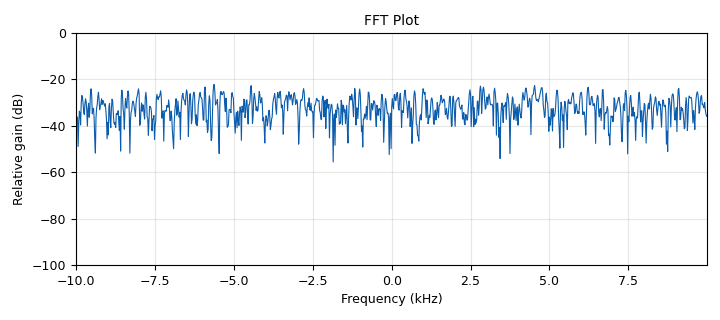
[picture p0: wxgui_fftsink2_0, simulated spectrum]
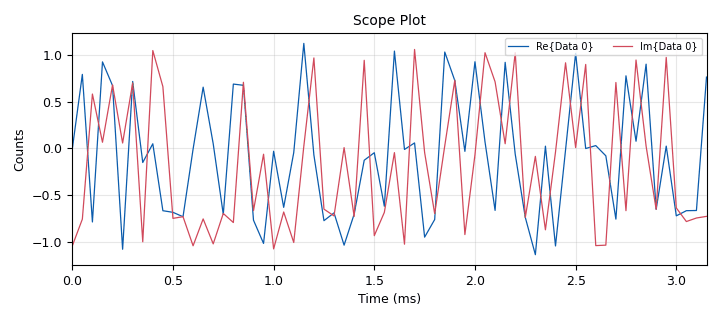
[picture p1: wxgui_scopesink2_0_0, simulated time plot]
<?xml version='1.0' encoding='utf-8'?>
<?grc format='1' created='3.7.9'?>
<flow_graph>
<block>
<key>options</key>
<param><key>id</key><value>top_block</value></param>
<param><key>category</key><value>Custom</value></param>
<param><key>generate_options</key><value>wx_gui</value></param>
</block>
<block>
<key>variable_slider</key>
<param><key>id</key><value>b1</value></param>
<param><key>converver</key><value>float_converter</value></param>
<param><key>value</key><value>-.5</value></param>
<param><key>label</key><value></value></param>
<param><key>max</key><value>1</value></param>
<param><key>min</key><value>-1</value></param>
<param><key>num_steps</key><value>100</value></param>
<param><key>style</key><value>wx.SL_HORIZONTAL</value></param>
</block>
<block>
<key>variable_slider</key>
<param><key>id</key><value>b2</value></param>
<param><key>converver</key><value>float_converter</value></param>
<param><key>value</key><value>0.25</value></param>
<param><key>label</key><value></value></param>
<param><key>max</key><value>1</value></param>
<param><key>min</key><value>-1</value></param>
<param><key>num_steps</key><value>100</value></param>
<param><key>style</key><value>wx.SL_HORIZONTAL</value></param>
</block>
<block>
<key>variable_slider</key>
<param><key>id</key><value>b3</value></param>
<param><key>converver</key><value>float_converter</value></param>
<param><key>value</key><value>-.125</value></param>
<param><key>label</key><value></value></param>
<param><key>max</key><value>1</value></param>
<param><key>min</key><value>-1</value></param>
<param><key>num_steps</key><value>100</value></param>
<param><key>style</key><value>wx.SL_HORIZONTAL</value></param>
</block>
<block>
<key>variable_slider</key>
<param><key>id</key><value>b4</value></param>
<param><key>converver</key><value>float_converter</value></param>
<param><key>value</key><value>.062</value></param>
<param><key>label</key><value></value></param>
<param><key>max</key><value>1</value></param>
<param><key>min</key><value>-1</value></param>
<param><key>num_steps</key><value>100</value></param>
<param><key>style</key><value>wx.SL_HORIZONTAL</value></param>
</block>
<block>
<key>variable</key>
<param><key>id</key><value>const_points</value></param>
<param><key>value</key><value>8</value></param>
</block>
<block>
<key>variable</key>
<param><key>id</key><value>excess_bw</value></param>
<param><key>value</key><value>0.4</value></param>
</block>
<block>
<key>variable</key>
<param><key>id</key><value>freq_bw</value></param>
<param><key>value</key><value>2*pi/100</value></param>
</block>
<block>
<key>variable_slider</key>
<param><key>id</key><value>gain</value></param>
<param><key>converver</key><value>float_converter</value></param>
<param><key>value</key><value>1</value></param>
<param><key>label</key><value></value></param>
<param><key>max</key><value>100</value></param>
<param><key>min</key><value>0</value></param>
<param><key>num_steps</key><value>100</value></param>
<param><key>style</key><value>wx.SL_HORIZONTAL</value></param>
</block>
<block>
<key>variable</key>
<param><key>id</key><value>nfilts</value></param>
<param><key>value</key><value>32</value></param>
</block>
<block>
<key>variable</key>
<param><key>id</key><value>ntaps</value></param>
<param><key>value</key><value>11*nfilts*sps</value></param>
</block>
<block>
<key>variable</key>
<param><key>id</key><value>output_sps</value></param>
<param><key>value</key><value>1</value></param>
</block>
<block>
<key>variable</key>
<param><key>id</key><value>rx_taps</value></param>
<param><key>value</key><value>firdes.root_raised_cosine(nfilts, nfilts*sps, 1.0,excess_bw, ntaps)</value></param>
</block>
<block>
<key>variable</key>
<param><key>id</key><value>samp_rate</value></param>
<param><key>value</key><value>32000</value></param>
</block>
<block>
<key>variable</key>
<param><key>id</key><value>sps</value></param>
<param><key>value</key><value>3</value></param>
</block>
<block>
<key>variable</key>
<param><key>id</key><value>symb_samp_rate</value></param>
<param><key>value</key><value>20000</value></param>
</block>
<block>
<key>variable</key>
<param><key>id</key><value>timing_bw</value></param>
<param><key>value</key><value>2*pi/100</value></param>
</block>
<block>
<key>variable</key>
<param><key>id</key><value>tx_taps</value></param>
<param><key>value</key><value>firdes.root_raised_cosine(nfilts,nfilts,1.0,excess_bw,ntaps)</value></param>
</block>
<block>
<key>analog_noise_source_x</key>
<param><key>id</key><value>analog_noise_source_x_0</value></param>
<param><key>amp</key><value>0.05</value></param>
<param><key>noise_type</key><value>analog.GR_GAUSSIAN</value></param>
<param><key>type</key><value>complex</value></param>
<param><key>seed</key><value>0</value></param>
</block>
<block>
<key>analog_random_source_x</key>
<param><key>id</key><value>analog_random_source_x_0</value></param>
<param><key>max</key><value>const_points</value></param>
<param><key>min</key><value>0</value></param>
<param><key>num_samps</key><value>1000</value></param>
<param><key>type</key><value>byte</value></param>
<param><key>repeat</key><value>True</value></param>
</block>
<block>
<key>blocks_add_const_vxx</key>
<param><key>id</key><value>blocks_add_const_vxx_0</value></param>
<param><key>const</key><value>-1</value></param>
<param><key>_enabled</key><value>0</value></param>
<param><key>type</key><value>float</value></param>
</block>
<block>
<key>blocks_add_xx</key>
<param><key>id</key><value>blocks_add_xx_0</value></param>
<param><key>type</key><value>complex</value></param>
</block>
<block>
<key>blocks_add_xx</key>
<param><key>id</key><value>blocks_add_xx_1</value></param>
<param><key>type</key><value>complex</value></param>
</block>
<block>
<key>blocks_complex_to_mag_squared</key>
<param><key>id</key><value>blocks_complex_to_mag_squared_0</value></param>
<param><key>_enabled</key><value>0</value></param>
</block>
<block>
<key>blocks_delay</key>
<param><key>id</key><value>blocks_delay_0</value></param>
<param><key>delay</key><value>1</value></param>
<param><key>type</key><value>complex</value></param>
</block>
<block>
<key>blocks_multiply_const_vxx</key>
<param><key>id</key><value>blocks_multiply_const_vxx_0</value></param>
<param><key>const</key><value>1</value></param>
<param><key>type</key><value>complex</value></param>
</block>
<block>
<key>blocks_multiply_const_vxx</key>
<param><key>id</key><value>blocks_multiply_const_vxx_1</value></param>
<param><key>const</key><value>0.5</value></param>
<param><key>type</key><value>complex</value></param>
</block>
<block>
<key>blocks_throttle</key>
<param><key>id</key><value>blocks_throttle_0</value></param>
<param><key>_enabled</key><value>2</value></param>
<param><key>samples_per_second</key><value>symb_samp_rate</value></param>
<param><key>type</key><value>complex</value></param>
</block>
<block>
<key>blocks_throttle</key>
<param><key>id</key><value>blocks_throttle_0_0</value></param>
<param><key>samples_per_second</key><value>symb_samp_rate</value></param>
<param><key>type</key><value>complex</value></param>
</block>
<block>
<key>digital_chunks_to_symbols_xx</key>
<param><key>id</key><value>digital_chunks_to_symbols_xx_0</value></param>
<param><key>dimension</key><value>1</value></param>
<param><key>in_type</key><value>byte</value></param>
<param><key>out_type</key><value>complex</value></param>
<param><key>symbol_table</key><value>((1+0j),(1+1j)/sqrt(2),(0+1j),(1-1j)/sqrt(2),(-1 + 0j),(-1-1j)/sqrt(2),(0-1j),(-1+1j)/sqrt(2))</value></param>
</block>
<block>
<key>digital_cma_equalizer_cc</key>
<param><key>id</key><value>digital_cma_equalizer_cc_0</value></param>
<param><key>mu</key><value>gain*100e-6</value></param>
<param><key>modulus</key><value>1</value></param>
<param><key>num_taps</key><value>4</value></param>
<param><key>sps</key><value>sps</value></param>
</block>
<block>
<key>iir_filter_xxx</key>
<param><key>id</key><value>iir_filter_xxx_0</value></param>
<param><key>_enabled</key><value>0</value></param>
<param><key>fftaps</key><value>[1,b1,b2,b3,b4]</value></param>
<param><key>fbtaps</key><value>[1]</value></param>
<param><key>type</key><value>ccf</value></param>
</block>
<block>
<key>iir_filter_xxx</key>
<param><key>id</key><value>iir_filter_xxx_1</value></param>
<param><key>_enabled</key><value>0</value></param>
<param><key>fftaps</key><value>[0.001]</value></param>
<param><key>fbtaps</key><value>[1,0.98]</value></param>
<param><key>type</key><value>ffd</value></param>
</block>
<block>
<key>import</key>
<param><key>id</key><value>import_0</value></param>
<param><key>import</key><value>from math import pi</value></param>
</block>
<block>
<key>notebook</key>
<param><key>id</key><value>notebook_0</value></param>
<param><key>labels</key><value>['new']</value></param>
<param><key>style</key><value>wx.NB_TOP</value></param>
</block>
<block>
<key>notebook</key>
<param><key>id</key><value>notebook_1</value></param>
<param><key>labels</key><value>['time', 'fft','out','new']</value></param>
<param><key>style</key><value>wx.NB_TOP</value></param>
</block>
<block>
<key>import</key>
<param><key>id</key><value>sqrt</value></param>
<param><key>import</key><value>from math import sqrt</value></param>
</block>
<block>
<key>wxgui_fftsink2</key>
<param><key>id</key><value>wxgui_fftsink2_0</value></param>
<param><key>avg_alpha</key><value>0</value></param>
<param><key>average</key><value>False</value></param>
<param><key>baseband_freq</key><value>0</value></param>
<param><key>fft_size</key><value>1024</value></param>
<param><key>freqvar</key><value>None</value></param>
<param><key>notebook</key><value>notebook_1,1</value></param>
<param><key>peak_hold</key><value>False</value></param>
<param><key>ref_level</key><value>0</value></param>
<param><key>ref_scale</key><value>2.0</value></param>
<param><key>fft_rate</key><value>15</value></param>
<param><key>samp_rate</key><value>symb_samp_rate</value></param>
<param><key>title</key><value>FFT Plot</value></param>
<param><key>type</key><value>complex</value></param>
<param><key>win</key><value>None</value></param>
<param><key>y_divs</key><value>10</value></param>
<param><key>y_per_div</key><value>10</value></param>
</block>
<block>
<key>wxgui_scopesink2</key>
<param><key>id</key><value>wxgui_scopesink2_0_0</value></param>
<param><key>ac_couple</key><value>False</value></param>
<param><key>notebook</key><value>notebook_1,0</value></param>
<param><key>num_inputs</key><value>1</value></param>
<param><key>samp_rate</key><value>symb_samp_rate</value></param>
<param><key>t_scale</key><value>0</value></param>
<param><key>title</key><value>Scope Plot</value></param>
<param><key>trig_mode</key><value>wxgui.TRIG_MODE_AUTO</value></param>
<param><key>type</key><value>complex</value></param>
<param><key>v_offset</key><value>0</value></param>
<param><key>v_scale</key><value>0</value></param>
<param><key>xy_mode</key><value>False</value></param>
<param><key>y_axis_label</key><value>Counts</value></param>
</block>
<block>
<key>wxgui_scopesink2</key>
<param><key>id</key><value>wxgui_scopesink2_0_0_1</value></param>
<param><key>ac_couple</key><value>False</value></param>
<param><key>_enabled</key><value>0</value></param>
<param><key>notebook</key><value>notebook_1,2</value></param>
<param><key>num_inputs</key><value>1</value></param>
<param><key>samp_rate</key><value>symb_samp_rate</value></param>
<param><key>t_scale</key><value>0</value></param>
<param><key>title</key><value>Scope Plot</value></param>
<param><key>trig_mode</key><value>wxgui.TRIG_MODE_AUTO</value></param>
<param><key>type</key><value>complex</value></param>
<param><key>v_offset</key><value>0</value></param>
<param><key>v_scale</key><value>0</value></param>
<param><key>xy_mode</key><value>False</value></param>
<param><key>y_axis_label</key><value>Counts</value></param>
</block>
<block>
<key>wxgui_scopesink2</key>
<param><key>id</key><value>wxgui_scopesink2_0_0_1_0</value></param>
<param><key>ac_couple</key><value>False</value></param>
<param><key>_enabled</key><value>0</value></param>
<param><key>notebook</key><value>notebook_1,3</value></param>
<param><key>num_inputs</key><value>1</value></param>
<param><key>samp_rate</key><value>symb_samp_rate</value></param>
<param><key>t_scale</key><value>0</value></param>
<param><key>title</key><value>Scope Plot</value></param>
<param><key>trig_mode</key><value>wxgui.TRIG_MODE_AUTO</value></param>
<param><key>type</key><value>float</value></param>
<param><key>v_offset</key><value>0</value></param>
<param><key>v_scale</key><value>0</value></param>
<param><key>xy_mode</key><value>False</value></param>
<param><key>y_axis_label</key><value>Counts</value></param>
</block>
<connection><source_block_id>analog_noise_source_x_0</source_block_id><sink_block_id>blocks_add_xx_1</sink_block_id><source_key>0</source_key><sink_key>1</sink_key></connection>
<connection><source_block_id>analog_random_source_x_0</source_block_id><sink_block_id>digital_chunks_to_symbols_xx_0</sink_block_id><source_key>0</source_key><sink_key>0</sink_key></connection>
<connection><source_block_id>blocks_add_const_vxx_0</source_block_id><sink_block_id>iir_filter_xxx_1</sink_block_id><source_key>0</source_key><sink_key>0</sink_key></connection>
<connection><source_block_id>blocks_add_xx_0</source_block_id><sink_block_id>digital_cma_equalizer_cc_0</sink_block_id><source_key>0</source_key><sink_key>0</sink_key></connection>
<connection><source_block_id>blocks_add_xx_0</source_block_id><sink_block_id>iir_filter_xxx_0</sink_block_id><source_key>0</source_key><sink_key>0</sink_key></connection>
<connection><source_block_id>blocks_add_xx_1</source_block_id><sink_block_id>blocks_delay_0</sink_block_id><source_key>0</source_key><sink_key>0</sink_key></connection>
<connection><source_block_id>blocks_add_xx_1</source_block_id><sink_block_id>blocks_multiply_const_vxx_0</sink_block_id><source_key>0</source_key><sink_key>0</sink_key></connection>
<connection><source_block_id>blocks_complex_to_mag_squared_0</source_block_id><sink_block_id>blocks_add_const_vxx_0</sink_block_id><source_key>0</source_key><sink_key>0</sink_key></connection>
<connection><source_block_id>blocks_delay_0</source_block_id><sink_block_id>blocks_multiply_const_vxx_1</sink_block_id><source_key>0</source_key><sink_key>0</sink_key></connection>
<connection><source_block_id>blocks_multiply_const_vxx_0</source_block_id><sink_block_id>blocks_add_xx_0</sink_block_id><source_key>0</source_key><sink_key>0</sink_key></connection>
<connection><source_block_id>blocks_multiply_const_vxx_1</source_block_id><sink_block_id>blocks_add_xx_0</sink_block_id><source_key>0</source_key><sink_key>1</sink_key></connection>
<connection><source_block_id>blocks_throttle_0</source_block_id><sink_block_id>wxgui_fftsink2_0</sink_block_id><source_key>0</source_key><sink_key>0</sink_key></connection>
<connection><source_block_id>blocks_throttle_0</source_block_id><sink_block_id>wxgui_scopesink2_0_0</sink_block_id><source_key>0</source_key><sink_key>0</sink_key></connection>
<connection><source_block_id>blocks_throttle_0_0</source_block_id><sink_block_id>blocks_add_xx_1</sink_block_id><source_key>0</source_key><sink_key>0</sink_key></connection>
<connection><source_block_id>digital_chunks_to_symbols_xx_0</source_block_id><sink_block_id>blocks_throttle_0_0</sink_block_id><source_key>0</source_key><sink_key>0</sink_key></connection>
<connection><source_block_id>digital_cma_equalizer_cc_0</source_block_id><sink_block_id>blocks_throttle_0</sink_block_id><source_key>0</source_key><sink_key>0</sink_key></connection>
<connection><source_block_id>iir_filter_xxx_0</source_block_id><sink_block_id>blocks_complex_to_mag_squared_0</sink_block_id><source_key>0</source_key><sink_key>0</sink_key></connection>
<connection><source_block_id>iir_filter_xxx_0</source_block_id><sink_block_id>wxgui_scopesink2_0_0_1</sink_block_id><source_key>0</source_key><sink_key>0</sink_key></connection>
<connection><source_block_id>iir_filter_xxx_1</source_block_id><sink_block_id>wxgui_scopesink2_0_0_1_0</sink_block_id><source_key>0</source_key><sink_key>0</sink_key></connection>
</flow_graph>
